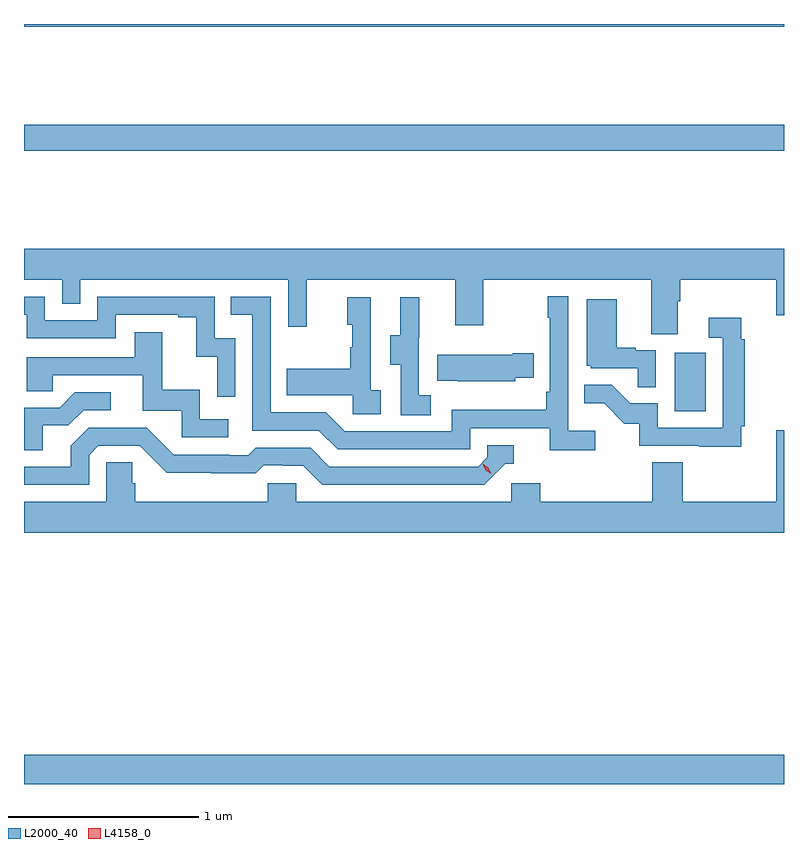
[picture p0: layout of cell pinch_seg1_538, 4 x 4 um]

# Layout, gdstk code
import gdstk
lib = gdstk.Library(unit=1e-6, precision=1e-09)
def R(c, l, rs):  # rectangles x0, y0, x1, y1
    for r in rs: c.add(gdstk.rectangle(r[:2], r[2:], *l))
def P(c, l, *ps):  # polygons
    for p in ps: c.add(gdstk.Polygon(p, *l))
L2000_40 = (2000, 40)
L4158_0 = (4158, 0)

pinch_seg1_538 = lib.new_cell('pinch_seg1_538')
R(pinch_seg1_538, L2000_40, [(1024.186,526.434,1028.186,526.588), (1027.61,528.396,1027.774,528.703), (1024.186,529.768,1028.186,529.904), (1024.186,530.42,1028.186,530.434)])
P(pinch_seg1_538, L2000_40, [(1027.627,528.976),(1027.64,528.976),(1027.64,529.088),(1028.144,529.088),(1028.144,528.9),(1028.186,528.9),(1028.186,529.252),(1024.186,529.252),(1024.186,529.088),(1024.386,529.088),(1024.386,528.961),(1024.482,528.961),(1024.482,529.088),(1025.577,529.088),(1025.577,528.84),(1025.675,528.84),(1025.675,529.088),(1026.455,529.088),(1026.455,528.849),(1026.603,528.849),(1026.603,529.088),(1027.487,529.088),(1027.487,528.802),(1027.627,528.802)],
  [(1027.192,528.292),(1027.05,528.292),(1027.05,529),(1026.942,529),(1026.942,528.887),(1026.954,528.887),(1026.954,528.499),(1026.934,528.499),(1026.934,528.403),(1026.438,528.403),(1026.438,528.291),(1025.874,528.291),(1025.775,528.39),(1025.484,528.39),(1025.484,528.999),(1025.275,528.999),(1025.275,528.903),(1025.388,528.903),(1025.388,528.294),(1025.738,528.294),(1025.837,528.195),(1026.534,528.195),(1026.534,528.306),(1026.953,528.306),(1026.953,528.19),(1027.192,528.19)],
  [(1025.298,528.78),(1025.19,528.78),(1025.19,528.999),(1024.572,528.999),(1024.572,528.876),(1024.296,528.876),(1024.296,528.999),(1024.186,528.999),(1024.186,528.903),(1024.2,528.903),(1024.2,528.78),(1024.668,528.78),(1024.668,528.903),(1024.997,528.903),(1024.997,528.891),(1025.093,528.891),(1025.093,528.683),(1025.202,528.683),(1025.202,528.471),(1025.298,528.471)],
  [(1026.328,528.479),(1026.264,528.479),(1026.264,528.783),(1026.266,528.783),(1026.266,528.997),(1026.167,528.997),(1026.167,528.795),(1026.113,528.795),(1026.113,528.64),(1026.168,528.64),(1026.168,528.376),(1026.328,528.376)],
  [(1026.064,528.506),(1026.012,528.506),(1026.012,528.997),(1025.888,528.997),(1025.888,528.852),(1025.914,528.852),(1025.914,528.734),(1025.904,528.734),(1025.904,528.619),(1025.569,528.619),(1025.569,528.479),(1025.916,528.479),(1025.916,528.381),(1026.064,528.381)],
  [(1027.512,528.717),(1027.406,528.717),(1027.406,528.73),(1027.306,528.73),(1027.306,528.985),(1027.148,528.985),(1027.148,528.636),(1027.17,528.636),(1027.17,528.621),(1027.417,528.621),(1027.417,528.523),(1027.512,528.523)],
  [(1027.961,528.316),(1027.979,528.316),(1027.979,528.776),(1027.961,528.776),(1027.961,528.889),(1027.791,528.889),(1027.791,528.783),(1027.863,528.783),(1027.863,528.309),(1027.521,528.309),(1027.521,528.438),(1027.377,528.438),(1027.279,528.536),(1027.135,528.536),(1027.135,528.437),(1027.239,528.437),(1027.346,528.33),(1027.423,528.33),(1027.423,528.213),(1027.741,528.213),(1027.741,528.208),(1027.961,528.208)],
  [(1025.26,528.354),(1025.112,528.354),(1025.112,528.508),(1024.913,528.508),(1024.913,528.811),(1024.769,528.811),(1024.769,528.681),(1024.2,528.681),(1024.2,528.501),(1024.337,528.501),(1024.337,528.585),(1024.811,528.585),(1024.811,528.399),(1025.016,528.399),(1025.016,528.258),(1025.26,528.258)],
  [(1026.771,528.572),(1026.869,528.572),(1026.869,528.702),(1026.758,528.702),(1026.758,528.694),(1026.361,528.694),(1026.361,528.557),(1026.469,528.557),(1026.469,528.554),(1026.771,528.554)],
  [(1024.285,528.322),(1024.42,528.322),(1024.5,528.402),(1024.642,528.402),(1024.642,528.495),(1024.454,528.495),(1024.373,528.414),(1024.186,528.414),(1024.186,528.19),(1024.285,528.19)],
  [(1024.53,528.165),(1024.578,528.213),(1024.794,528.213),(1024.936,528.071),(1025.172,528.071),(1025.172,528.069),(1025.405,528.069),(1025.447,528.111),(1025.55,528.111),(1025.55,528.108),(1025.657,528.108),(1025.756,528.009),(1026.609,528.009),(1026.72,528.12),(1026.763,528.12),(1026.763,528.216),(1026.624,528.216),(1026.624,528.153),(1026.576,528.105),(1025.793,528.105),(1025.694,528.204),(1025.405,528.204),(1025.366,528.165),(1025.267,528.165),(1025.267,528.168),(1024.974,528.168),(1024.833,528.309),(1024.527,528.309),(1024.433,528.215),(1024.433,528.105),(1024.186,528.105),(1024.186,528.009),(1024.53,528.009)],
  [(1028.186,528.295),(1028.144,528.295),(1028.144,527.92),(1027.653,527.92),(1027.653,528.128),(1027.493,528.128),(1027.493,527.92),(1026.902,527.92),(1026.902,528.018),(1026.75,528.018),(1026.75,527.92),(1025.619,527.92),(1025.619,528.018),(1025.469,528.018),(1025.469,527.92),(1024.772,527.92),(1024.772,528.018),(1024.757,528.018),(1024.757,528.128),(1024.62,528.128),(1024.62,527.92),(1024.186,527.92),(1024.186,527.756),(1028.186,527.756)])
P(pinch_seg1_538, L4158_0, [(1026.646,528.066),(1026.615,528.086),(1026.6,528.118),(1026.6,528.119),(1026.6,528.119),(1026.63,528.099),(1026.646,528.066),(1026.646,528.066)])

lib.write_gds('pinch_seg1_538.gds')
